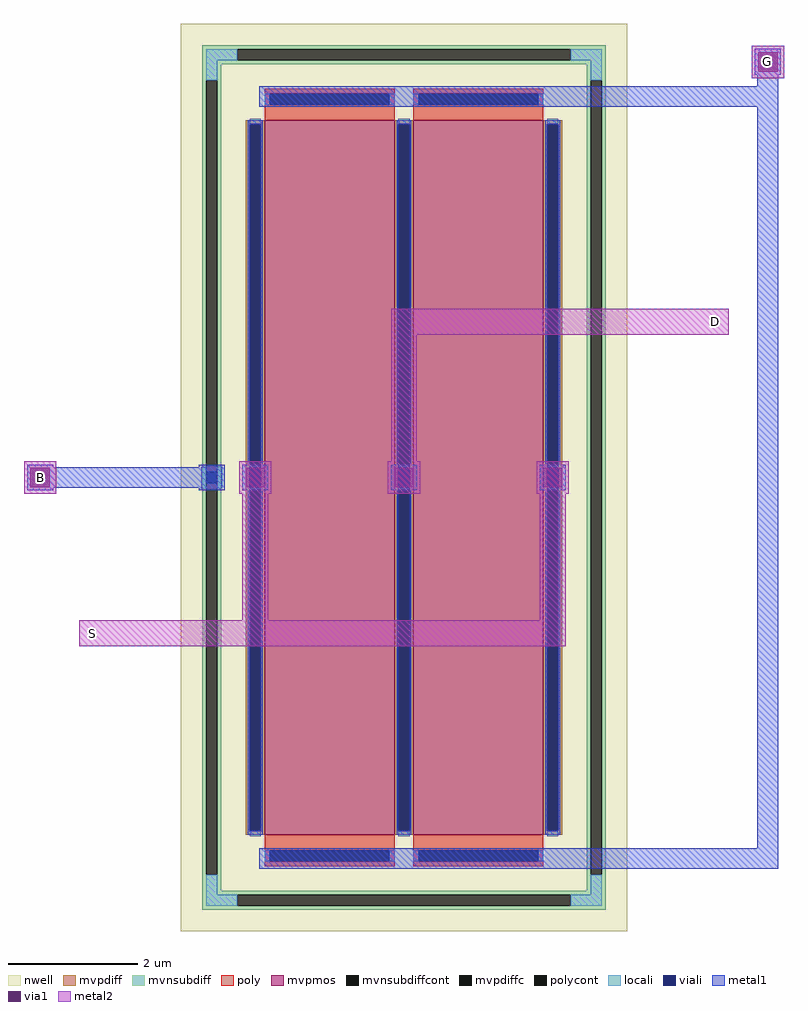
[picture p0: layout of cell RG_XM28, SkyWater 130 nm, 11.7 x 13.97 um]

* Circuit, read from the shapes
.subckt RG_XM28 B S D G
XM1 D G S B sky130_fd_pr__pfet_g5v0d10v5 w=11 l=2 m=2
.ends

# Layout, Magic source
magic
tech sky130A
magscale 1 2
use sky130_fd_pr__pfet_g5v0d10v5_V6J3CS XDEV
transform 1 0 0 0 1 0
box -687 -1397 687 1397
<< locali >>
rect -625 -33 -559 33
<< viali >>
rect -609 -17 -575 17
<< metal1 >>
rect -632 -40 -552 40
rect -1152 -32 -560 32
rect -1160 -40 -1080 40
rect -498 -40 -418 40
rect -40 -40 40 40
rect 418 -40 498 40
rect -445 1141 1152 1205
rect -445 -1205 1152 -1141
rect 1088 -1196 1152 1312
rect 1080 1240 1160 1320
<< via1 >>
rect -1150 -30 -1090 30
rect -488 -30 -428 30
rect -30 -30 30 30
rect 428 -30 488 30
rect 1090 1250 1150 1310
<< metal2 >>
rect -1170 -50 -1070 50
rect -508 -50 -408 50
rect -498 -40 -418 40
rect -498 -520 -418 40
rect -50 -50 50 50
rect -40 -40 40 40
rect -40 -40 40 520
rect 408 -50 508 50
rect 418 -40 498 40
rect 418 -520 498 40
rect -1000 -520 498 -440
rect -40 440 1000 520
rect 1070 1230 1170 1330
<< labels >>
rlabel metal2 -1150 -30 -1090 30 0 B
port 1 nsew
rlabel metal2 -990 -510 -930 -450 0 S
port 2 nsew
rlabel metal2 930 450 990 510 0 D
port 3 nsew
rlabel metal2 1090 1250 1150 1310 0 G
port 4 nsew
<< end >>

# cell sky130_fd_pr__pfet_g5v0d10v5_V6J3CS: kit device sky130_fd_pr__pfet_g5v0d10v5, w 11.0 l 2.0 m 1 nf 2 diffcov 100 polycov 100 guard 1 glc 1 grc 1 gtc 1 gbc 1 tbcov 100 rlcov 100 topc 1 botc 1 poverlap 0 doverlap 1 lmin 0.50 wmin 0.42 compatible {sky130_fd_pr__pfet_01v8 sky130_fd_pr__pfet_01v8_lvt sky130_fd_pr__pfet_01v8_hvt sky130_fd_pr__pfet_g5v0d10v5} full_metal 1 viasrc 100 viadrn 100 viagate 100 viagb 0 viagr 0 viagl 0 viagt 0
